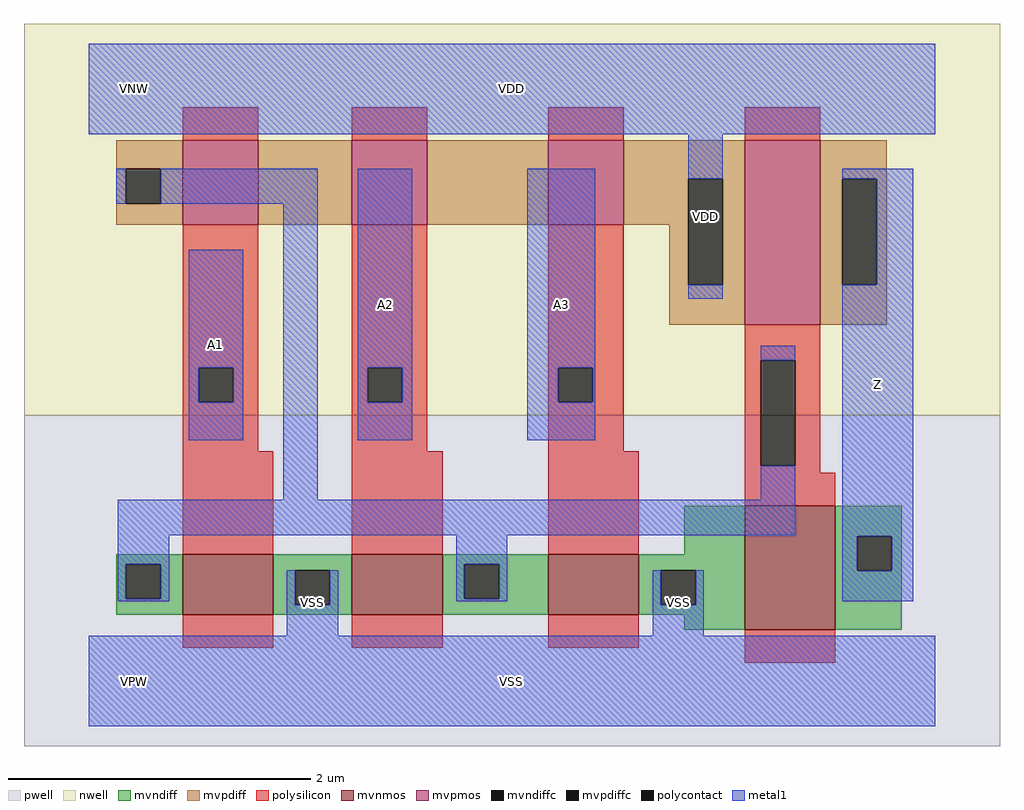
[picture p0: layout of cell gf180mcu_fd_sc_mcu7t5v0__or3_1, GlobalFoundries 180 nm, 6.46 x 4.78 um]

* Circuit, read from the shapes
.subckt gf180mcu_fd_sc_mcu7t5v0__or3_1 A1 A2 A3 Z VDD VNW VPW VSS
XM1 VSS A1 n1 VPW nfet_06v0 w=0.4u l=0.6u
XM2 n1 A2 VSS VPW nfet_06v0 w=0.4u l=0.6u
XM3 VSS A3 n1 VPW nfet_06v0 w=0.4u l=0.6u
XM4 Z n1 VSS VPW nfet_06v0 w=0.82u l=0.6u
XM5 n2 A1 n1 VNW pfet_06v0 w=0.56u l=0.5u
XM6 n3 A2 n2 VNW pfet_06v0 w=0.56u l=0.5u
XM7 VDD A3 n3 VNW pfet_06v0 w=0.56u l=0.5u
XM8 Z n1 VDD VNW pfet_06v0 w=1.22u l=0.5u
.ends

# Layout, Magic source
magic
tech gf180mcuD
magscale 1 10
<< nwell >>
rect -86 352 1206 870
<< pwell >>
rect -86 -86 1206 352
<< mvnmos >>
rect 124 88 244 168
rect 348 88 468 168
rect 608 88 728 168
rect 868 68 988 232
<< mvpmos >>
rect 124 604 224 716
rect 348 604 448 716
rect 608 604 708 716
rect 868 472 968 716
<< mvndiff >>
rect 788 168 868 232
rect 36 155 124 168
rect 36 109 49 155
rect 95 109 124 155
rect 36 88 124 109
rect 244 147 348 168
rect 244 101 273 147
rect 319 101 348 147
rect 244 88 348 101
rect 468 155 608 168
rect 468 109 497 155
rect 543 109 608 155
rect 468 88 608 109
rect 728 147 868 168
rect 728 101 757 147
rect 803 101 868 147
rect 728 88 868 101
rect 788 68 868 88
rect 988 192 1076 232
rect 988 146 1017 192
rect 1063 146 1076 192
rect 988 68 1076 146
<< mvpdiff >>
rect 36 678 124 716
rect 36 632 49 678
rect 95 632 124 678
rect 36 604 124 632
rect 224 604 348 716
rect 448 604 608 716
rect 708 665 868 716
rect 708 604 793 665
rect 768 525 793 604
rect 839 525 868 665
rect 768 472 868 525
rect 968 665 1056 716
rect 968 525 997 665
rect 1043 525 1056 665
rect 968 472 1056 525
<< mvndiffc >>
rect 49 109 95 155
rect 273 101 319 147
rect 497 109 543 155
rect 757 101 803 147
rect 1017 146 1063 192
<< mvpdiffc >>
rect 49 632 95 678
rect 793 525 839 665
rect 997 525 1043 665
<< polysilicon >>
rect 124 716 224 760
rect 348 716 448 760
rect 608 716 708 760
rect 868 716 968 760
rect 124 415 224 604
rect 124 369 145 415
rect 191 369 224 415
rect 124 304 224 369
rect 348 415 448 604
rect 348 369 369 415
rect 415 369 448 415
rect 348 304 448 369
rect 608 415 708 604
rect 608 369 621 415
rect 667 369 708 415
rect 608 304 708 369
rect 868 425 968 472
rect 124 168 244 304
rect 348 168 468 304
rect 608 168 728 304
rect 868 285 889 425
rect 935 285 968 425
rect 868 276 968 285
rect 868 232 988 276
rect 124 44 244 88
rect 348 44 468 88
rect 608 44 728 88
rect 868 24 988 68
<< polycontact >>
rect 145 369 191 415
rect 369 369 415 415
rect 621 369 667 415
rect 889 285 935 425
<< metal1 >>
rect 0 724 1120 844
rect 36 632 49 678
rect 95 632 303 678
rect 132 415 204 571
rect 132 369 145 415
rect 191 369 204 415
rect 132 319 204 369
rect 257 240 303 632
rect 356 415 428 678
rect 356 369 369 415
rect 415 369 428 415
rect 356 319 428 369
rect 580 415 670 678
rect 793 665 839 724
rect 793 506 839 525
rect 997 665 1091 678
rect 1043 525 1091 665
rect 580 369 621 415
rect 667 369 670 415
rect 580 319 670 369
rect 889 425 935 444
rect 889 240 935 285
rect 38 193 935 240
rect 38 155 106 193
rect 38 109 49 155
rect 95 109 106 155
rect 486 155 554 193
rect 38 106 106 109
rect 262 101 273 147
rect 319 101 330 147
rect 486 109 497 155
rect 543 109 554 155
rect 997 192 1091 525
rect 486 106 554 109
rect 262 60 330 101
rect 746 101 757 147
rect 803 101 814 147
rect 997 146 1017 192
rect 1063 146 1091 192
rect 997 106 1091 146
rect 746 60 814 101
rect 0 -60 1120 60
<< labels >>
flabel metal1 s 580 319 670 678 0 FreeSans 400 0 0 0 A3
port 3 nsew default input
flabel metal1 s 0 724 1120 844 0 FreeSans 400 0 0 0 VDD
port 5 nsew power bidirectional abutment
flabel metal1 s 746 60 814 147 0 FreeSans 400 0 0 0 VSS
port 8 nsew ground bidirectional abutment
flabel metal1 s 997 106 1091 678 0 FreeSans 400 0 0 0 Z
port 4 nsew default output
flabel metal1 s 132 319 204 571 0 FreeSans 400 0 0 0 A1
port 1 nsew default input
flabel metal1 s 356 319 428 678 0 FreeSans 400 0 0 0 A2
port 2 nsew default input
flabel nwell s 10 734 110 834 0 FreeSans 400 0 0 0 VNW
port 6 nsew power bidirectional
flabel pwell s 10 -50 110 50 0 FreeSans 400 0 0 0 VPW
port 7 nsew ground bidirectional
rlabel metal1 s 793 506 839 724 1 VDD
port 5 nsew power bidirectional abutment
rlabel metal1 s 262 60 330 147 1 VSS
port 8 nsew ground bidirectional abutment
rlabel metal1 s 0 -60 1120 60 1 VSS
port 8 nsew ground bidirectional abutment
<< properties >>
string FIXED_BBOX 0 0 1120 784
string GDS_END 158338
string GDS_FILE $PDKPATH/libs.ref/gf180mcu_fd_sc_mcu7t5v0/gds/gf180mcu_fd_sc_mcu7t5v0.gds
string GDS_START 154946
string LEFclass core
string LEFsite GF018hv5v_mcu_sc7
string LEFsymmetry X Y
<< end >>
